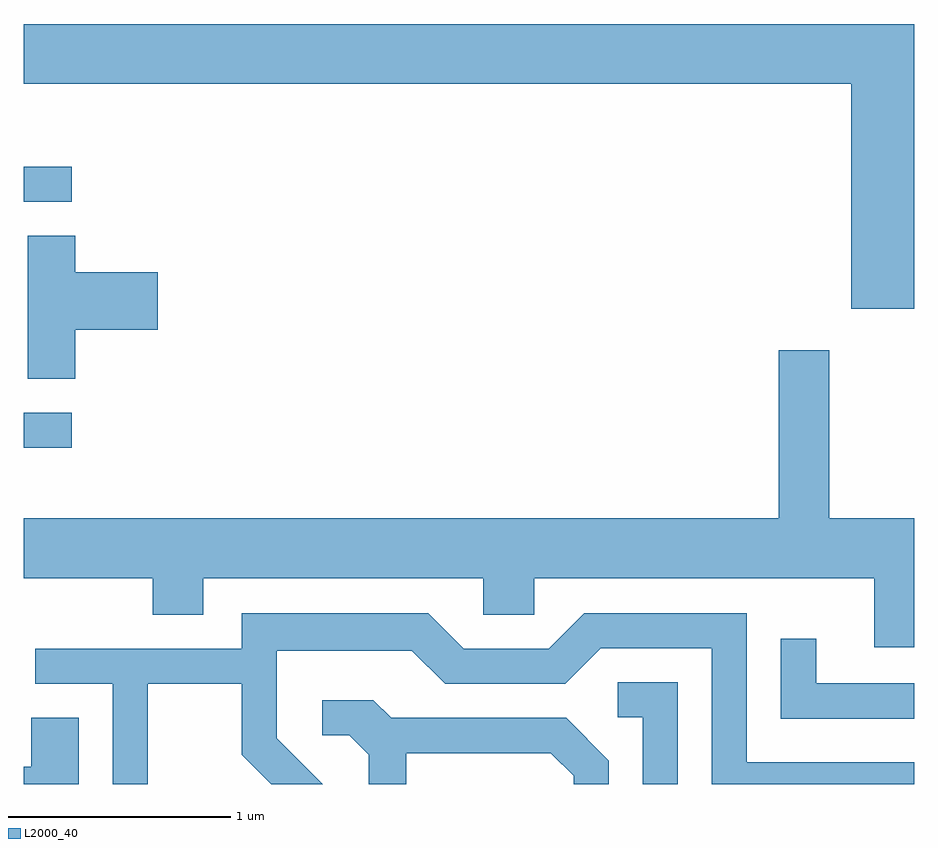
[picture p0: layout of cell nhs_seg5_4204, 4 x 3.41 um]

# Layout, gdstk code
import gdstk
lib = gdstk.Library(unit=1e-6, precision=1e-09)
def R(c, l, rs):  # rectangles x0, y0, x1, y1
    for r in rs: c.add(gdstk.rectangle(r[:2], r[2:], *l))
def P(c, l, *ps):  # polygons
    for p in ps: c.add(gdstk.Polygon(p, *l))
L2000_40 = (2000, 40)

nhs_seg5_4204 = lib.new_cell('nhs_seg5_4204')
R(nhs_seg5_4204, L2000_40, [(309.611,1479.581,309.828,1479.739), (309.611,1480.686,309.828,1480.844)])
P(nhs_seg5_4204, L2000_40, [(313.611,1481.484),(309.611,1481.484),(309.611,1481.216),(313.326,1481.216),(313.326,1480.206),(313.611,1480.206)],
  [(309.844,1480.111),(310.214,1480.111),(310.214,1480.369),(309.844,1480.369),(309.844,1480.534),(309.631,1480.534),(309.631,1479.891),(309.844,1479.891)],
  [(313.611,1479.264),(313.229,1479.264),(313.229,1480.019),(313.001,1480.019),(313.001,1479.264),(309.611,1479.264),(309.611,1478.996),(310.191,1478.996),(310.191,1478.831),(310.419,1478.831),(310.419,1478.996),(311.676,1478.996),(311.676,1478.831),(311.904,1478.831),(311.904,1478.996),(313.431,1478.996),(313.431,1478.686),(313.611,1478.686)],
  [(310.169,1478.521),(310.591,1478.521),(310.591,1478.204),(310.723,1478.072),(310.954,1478.072),(310.749,1478.277),(310.749,1478.671),(311.354,1478.671),(311.504,1478.521),(312.042,1478.521),(312.202,1478.681),(312.701,1478.681),(312.701,1478.072),(313.611,1478.072),(313.611,1478.169),(312.859,1478.169),(312.859,1478.839),(312.129,1478.839),(311.969,1478.679),(311.587,1478.679),(311.427,1478.839),(310.591,1478.839),(310.591,1478.679),(309.663,1478.679),(309.663,1478.521),(310.011,1478.521),(310.011,1478.072),(310.169,1478.072)],
  [(313.611,1478.524),(313.169,1478.524),(313.169,1478.723),(313.011,1478.723),(313.011,1478.366),(313.611,1478.366)],
  [(312.549,1478.529),(312.278,1478.529),(312.278,1478.371),(312.391,1478.371),(312.391,1478.072),(312.549,1478.072)],
  [(311.329,1478.211),(311.979,1478.211),(312.081,1478.109),(312.081,1478.072),(312.239,1478.072),(312.239,1478.177),(312.047,1478.369),(311.262,1478.369),(311.182,1478.449),(310.953,1478.449),(310.953,1478.291),(311.074,1478.291),(311.161,1478.204),(311.161,1478.072),(311.329,1478.072)],
  [(309.859,1478.369),(309.646,1478.369),(309.646,1478.149),(309.611,1478.149),(309.611,1478.072),(309.859,1478.072)])

lib.write_gds('nhs_seg5_4204.gds')
